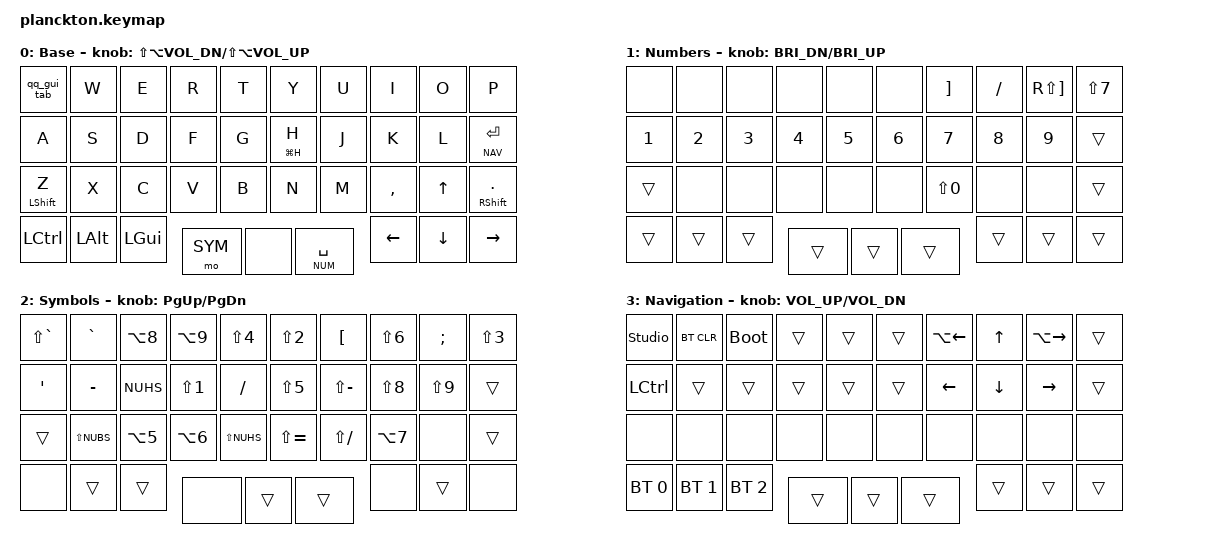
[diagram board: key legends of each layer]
/*
 * Copyright (c) 2025
 *
 * SPDX-License-Identifier: MIT
 */

#include <behaviors.dtsi>
#include <dt-bindings/zmk/keys.h>
#include <dt-bindings/zmk/bt.h>
#include <dt-bindings/zmk/modifiers.h>

#define BASE 0
#define NUM 1
#define SYM 2
#define NAV 3

&lt {
	tapping-term-ms = <200>;
};

/ {
	behaviors {
		/* Tap: H — Hold: Gui+H (Apricot TD(0)) */
		td0: tap_gui_h {
			compatible = "zmk,behavior-hold-tap";
			#binding-cells = <2>;
			flavor = "tap-preferred";
			tapping-term-ms = <200>;
			bindings = <&kp>, <&kp>;
		};

		/* Tap: play/pause — double: next — triple: prev (Apricot TD(1)) */
		td1: tap_dance_media {
			compatible = "zmk,behavior-tap-dance";
			#binding-cells = <0>;
			tapping-term-ms = <200>;
			bindings = <&kp C_PP &kp C_NEXT &kp C_PREV>;
		};

		/* Allein: Q — mit Gui: Tab; keep-mods verhindert, dass Gui beim Morph „verschluckt“ wird (Cmd halten zum Weiterschalten). */
		qq_gui_tab: qq_gui_tab {
			compatible = "zmk,behavior-mod-morph";
			#binding-cells = <0>;
			mods = <(MOD_LGUI | MOD_RGUI)>;
			keep-mods = <(MOD_LGUI | MOD_RGUI)>;
			bindings = <&kp Q &kp TAB>;
		};
	};

	combos {
		compatible = "zmk,combos";

		combo_jk_bspc {
			timeout-ms = <50>;
			key-positions = <16 17>;
			layers = <BASE>;
			bindings = <&kp BSPC>;
		};

		combo_jkl_alt_bspc {
			timeout-ms = <50>;
			key-positions = <16 17 18>;
			layers = <BASE>;
			bindings = <&kp LA(BSPC)>;
		};

		combo_op_bspc {
			timeout-ms = <50>;
			key-positions = <8 9>;
			layers = <BASE>;
			bindings = <&kp BSPC>;
		};

		combo_qw_tab {
			timeout-ms = <50>;
			key-positions = <0 1>;
			layers = <BASE>;
			bindings = <&kp TAB>;
		};

		combo_as_esc {
			timeout-ms = <50>;
			key-positions = <10 11>;
			layers = <BASE>;
			bindings = <&kp ESC>;
		};

		combo_qwe_gui_q {
			timeout-ms = <50>;
			key-positions = <0 1 2>;
			layers = <BASE>;
			bindings = <&kp LG(Q)>;
		};

		combo_kl_del {
			timeout-ms = <50>;
			key-positions = <17 18>;
			layers = <BASE>;
			bindings = <&kp DEL>;
		};

		/* Beide Daumen (&mo SYM Pos 33 + &lt NUM SPACE Pos 35) → td1 */
		combo_thumb_td1 {
			timeout-ms = <50>;
			key-positions = <33 35>;
			layers = <BASE>;
			bindings = <&td1>;
		};
	};

	keymap {
		compatible = "zmk,keymap";

		default_layer {
			display-name = "Base";
			bindings = <
				/* Zeilen R0–R2: je 10 Spalten C0–C9. R3: 9 Tasten, unter C6 keine Taste (Tab-Lücke). */
				/* R0 */      	&qq_gui_tab           	&kp W                 	&kp E                 	&kp R                 	&kp T                 	&kp Y                 	&kp U                 	&kp I                 	&kp O                 	&kp P                 
				/* R1 */      	&kp A           		&kp S                 	&kp D                 	&kp F                 	&kp G                 	&td0 LG(H) H          	&kp J                 	&kp K                 	&kp L                 	&lt NAV ENTER      
				/* R2 */      	&mt LSHFT Z           	&kp X                 	&kp C                 	&kp V                 	&kp B                 	&kp N                 	&kp M                 	&kp COMMA             	&kp UP                	&mt RSHFT DOT         
				/* R3 */      	&kp LCTRL             	&kp LALT              	&kp LGUI              	&mo SYM             	&none                 	&lt NUM SPACE       		&kp LEFT              	&kp DOWN              	&kp RIGHT             
			>;

			sensor-bindings = <&inc_dec_kp LS(LA(C_VOL_DN)) LS(LA(C_VOL_UP))>;
		};

		num_layer {
			display-name = "Numbers";
			bindings = <
				/* Zeilen R0–R2: je 10 Spalten C0–C9. R3: 9 Tasten, unter C6 keine Taste (Tab-Lücke). */
				/* R0 */      	&none                 	&none                 	&none                 	&none                 	&none                 	&none                 	&kp RBKT              	&kp SLASH             	&kp RS(RBKT)          	&kp LS(N7)            
				/* R1 */      	&kp N1                	&kp N2                	&kp N3                	&kp N4                	&kp N5                	&kp N6                	&kp N7                	&kp N8                	&kp N9                	&trans                
				/* R2 */      	&trans                	&none                 	&none                 	&none                 	&none                 	&none                 	&kp LS(N0)            	&none                 	&none                 	&trans                
				/* R3 */      	&trans                	&trans                	&trans                	&trans                	&trans                	&trans                		&trans                	&trans                	&trans                
			>;

			sensor-bindings = <&inc_dec_kp C_BRI_DN C_BRI_UP>;
		};

		sym_layer {
			display-name = "Symbols";
			bindings = <
				/* Zeilen R0–R2: je 10 Spalten C0–C9. R3: 9 Tasten, unter C6 keine Taste (Tab-Lücke). */
				/* R0 */      	&kp LS(GRAVE)         	&kp GRAVE             	&kp LA(N8)            	&kp LA(N9)            	&kp LS(N4)            	&kp LS(N2)            	&kp LBKT              	&kp LS(N6)            	&kp SEMI              	&kp LS(N3)            
				/* R1 */      	&kp SQT               	&kp MINUS             	&kp NUHS              	&kp LS(N1)            	&kp SLASH             	&kp LS(N5)            	&kp LS(MINUS)         	&kp LS(N8)            	&kp LS(N9)            	&trans                
				/* R2 */      	&trans                	&kp LS(NUBS)          	&kp LA(N5)            	&kp LA(N6)            	&kp LS(NUHS)          	&kp LS(EQUAL)         	&kp LS(SLASH)         	&kp LA(N7)            	&none                 	&trans                
				/* R3 */      	&none                 	&trans                	&trans                	&none                 	&trans                	&trans                		&none                 	&trans                	&none                 
			>;

			sensor-bindings = <&inc_dec_kp PG_UP PG_DN>;
		};

		nav_layer {
			display-name = "Navigation";
			bindings = <
				/* Zeilen R0–R2: je 10 Spalten C0–C9. R3: 9 Tasten, unter C6 keine Taste (Tab-Lücke). */
				/* R0 */      	&studio_unlock        	&bt BT_CLR            	&bootloader           	&trans                	&trans                	&trans                	&kp LA(LEFT)          	&kp UP                	&kp LA(RIGHT)         	&trans                
				/* R1 */      	&kp LCTRL             	&trans                	&trans                	&trans                	&trans                	&trans                	&kp LEFT              	&kp DOWN              	&kp RIGHT             	&trans                
				/* R2 */      	&none                 	&none                 	&none                 	&none                 	&none                 	&none                 	&none                 	&none                 	&none                 	&none                 
				/* R3 */      	&bt BT_SEL 0          	&bt BT_SEL 1          	&bt BT_SEL 2          	&trans                	&trans                	&trans                		&trans                	&trans                	&trans                
			>;

			sensor-bindings = <&inc_dec_kp C_VOL_UP C_VOL_DN>;
		};
	};
};
